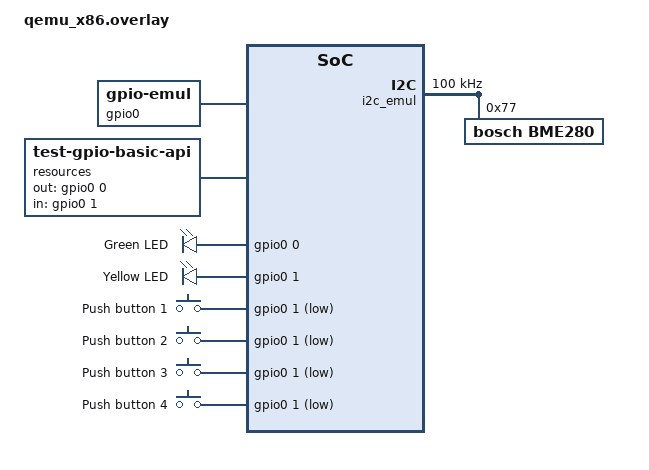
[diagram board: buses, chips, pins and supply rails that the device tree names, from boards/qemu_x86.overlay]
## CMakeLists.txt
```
cmake_minimum_required(VERSION 3.20.0)
find_package(Zephyr REQUIRED HINTS $ENV{ZEPHYR_BASE})

project(
    Blinky
    VERSION 0.1
    DESCRIPTION "CPP Blinky application."
    LANGUAGES C CXX
)

target_sources(
    app
    PRIVATE
    src/main.cpp
)
```

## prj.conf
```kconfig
# C++ support
CONFIG_CPP=y
CONFIG_REQUIRES_FULL_LIBCPP=y
CONFIG_STD_CPP20=y

# use zpp_lib
CONFIG_USE_ZPP_LIB=y
```

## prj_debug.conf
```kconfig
CONFIG_DEBUG=y
CONFIG_DEBUG_OPTIMIZATIONS=y
CONFIG_ASSERT=y
```

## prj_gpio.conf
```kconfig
# enable gpio
CONFIG_GPIO=y
```

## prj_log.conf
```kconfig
# logging
CONFIG_LOG=y
CONFIG_LOG_MODE_IMMEDIATE=n

# zpp_lib logging
CONFIG_ZPP_RTOS_LOG_LEVEL_DBG=y
CONFIG_ZPP_DRIVERS_LOG_LEVEL_DBG=y

# keep kernel debug logs off for now, otherwise it's very noisy
CONFIG_KERNEL_LOG_LEVEL_DBG=n
CONFIG_APP_LOG_LEVEL_DBG=y
```

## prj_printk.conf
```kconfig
#CONFIG_PRINTK=n
#CONFIG_BOOT_BANNER=y
```

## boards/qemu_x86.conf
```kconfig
CONFIG_GPIO_EMUL=y
```

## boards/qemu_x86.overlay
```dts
#include <zephyr/dt-bindings/gpio/gpio.h>

/ {
    gpio0: gpio_emul_0 {
        status = "okay";
        compatible = "zephyr,gpio-emul";
        rising-edge;
        falling-edge;
        high-level;
        low-level;
        gpio-controller;
        ngpios=<2>;
        #gpio-cells = <2>;
    };

    i2c_emul: i2c_emul@1000 {
        compatible = "zephyr,i2c-emul-controller";
        reg = <0x1000 1>;
        #address-cells = <1>;
        #size-cells = <0>;
        clock-frequency = <100000>;

        bme280_emul: bme280@77 {
            compatible = "bosch,bme280", "bosch,bme280-emul";
            reg = <0x77>;
            label = "BME280";
        };
    };

    resources {
        compatible = "test-gpio-basic-api";
        out-gpios = <&gpio0 0 0>;
        in-gpios = <&gpio0 1 0>;
    };

    leds {
        compatible = "gpio-leds";

        led0: led_0 {
            gpios = <&gpio0 0 GPIO_ACTIVE_HIGH>;
            label = "Green LED";
        };

        led1: led_1 {
            gpios = <&gpio0 1 GPIO_ACTIVE_HIGH>;
            label = "Yellow LED";
        };
    };

    buttons {
        compatible = "gpio-keys";

        button0: button_0 {
            gpios = <&gpio0 1 (GPIO_PULL_UP | GPIO_ACTIVE_LOW)>;
            label = "Push button 1";
        };

        button1: button_1 {
            gpios = <&gpio0 1 (GPIO_PULL_UP | GPIO_ACTIVE_LOW)>;
            label = "Push button 2";
        };

        button2: button_2 {
            gpios = <&gpio0 1 (GPIO_PULL_UP | GPIO_ACTIVE_LOW)>;
            label = "Push button 3";
        };

        button3: button_3 {
            gpios = <&gpio0 1 (GPIO_PULL_UP | GPIO_ACTIVE_LOW)>;
            label = "Push button 4";
        };
    };

    aliases {
        led0 = &led0;
        led1 = &led1;
        sw0 = &button0;
        sw1 = &button1;
        sw2 = &button2;
        sw3 = &button3;
    };

    chosen {
        zephyr,display = &dummy_dc;
    };

    dummy_dc: dummy_dc {
        compatible = "zephyr,dummy-dc";
        height = <240>;
        width = <320>;
    };
};
```

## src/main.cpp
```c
/**
******************************************************************************
* @file        : main.cpp
* @brief       : Blinky Application
* @author      : Alexandre Schmid <alexandre.schmid@master.hes-so.ch>
* @date        : 22. September 2026
******************************************************************************
* @copyright   : Copyright (c) 2026
*                HES-SO Master
* @attention   : SPDX-License-Identifier: MIT OR Apache-2.0
******************************************************************************
* @details
* Making LED1 on the board toggle between on and off repeatedly
******************************************************************************
*/

// stl
#include <chrono>
// #include <zephyr/sys/printk.h>
//  zpp_lib
#include "zpp_include/digital_out.hpp"
#include "zpp_include/this_thread.hpp"
#include "zpp_include/thread.hpp"
#include "zpp_include/zpp_log.hpp"

ZPP_LOG_MODULE_REGISTER(blinky, CONFIG_APP_LOG_LEVEL);

void blink() {
  zpp_lib::DigitalOut led(zpp_lib::DigitalOut::PinName::LED0);
  using std::literals::chrono_literals::operator""ms;
  static constexpr std::chrono::milliseconds kBlinkInterval = 1000ms;

  while (true) {
    led = !led;
    zpp_lib::ThisThread::sleep_for(kBlinkInterval);
  }
}

// The complexity is increased by Zephyr logging macros.
// NOLINTNEXTLINE(readability-function-cognitive-complexity)
int main() {
  ZPP_LOG_DBG("Running on board %s", CONFIG_BOARD_TARGET);
  ZPP_LOG_DBG("Starting thread");
  // printk("Hello world printk!\n");

  zpp_lib::Thread thread(zpp_lib::PreemptableThreadPriority::PriorityNormal, "BlinkyThread");

  auto res = thread.start(blink);
  if (!res) {
    ZPP_LOG_ERR("Could not start thread (%d)", static_cast<int>(res.error()));
    return -1;
  }

  res = thread.join();
  if (!res) {
    ZPP_LOG_ERR("Could not terminate thread (%d)", static_cast<int>(res.error()));
    return -1;
  }

  return 0;
}
```
